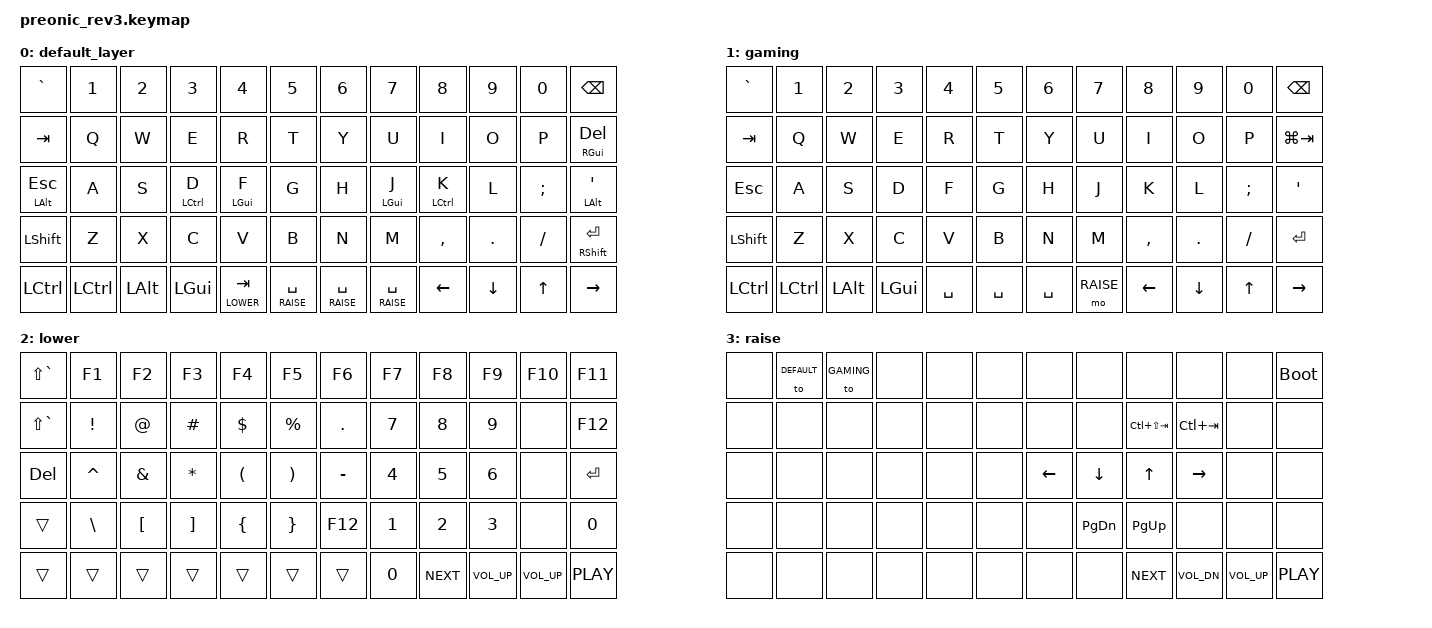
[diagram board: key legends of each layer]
/*
 * Copyright (c) 2022 The ZMK Contributors
 *
 * SPDX-License-Identifier: MIT
 */

#include <behaviors.dtsi>
#include <dt-bindings/zmk/keys.h>
#include <dt-bindings/zmk/bt.h>

#define DEFAULT 0
#define GAMING  1
#define LOWER   2
#define RAISE   3

#define SP_RAISE &lt RAISE SPACE

&mt {
    flavor = "tap-preferred";
};

/ {
    keymap {
        compatible = "zmk,keymap";
        default_layer {
            //  -------------------------------------------------------------------------------------------------
            // |  GRAV |  1   |  2   |  3   |  4    |  5     |   6     |  7     |  8   |  9    |   0   | BSPC   |
            // |  TAB  |  Q   |  W   |  E   |  R    |  T     |   Y     |  U     |  I   |  O    |   P   | DEL    |
            // |  ESC  |  A   |  S   |  D   |  F    |  G     |   H     |  J     |  K   |  L    |   ;   |  '     |
            // | SHIFT |  Z   |  X   |  C   |  V    |  B     |   N     |  M     |  ,   |  .    |   /   | RET    |
            // |       | LGUI | LALT | LCTL | LOWER | SPACE  |  SPACE  |  RAISE | LEFT |  DOWN |   UP  | RIGHT  |
            bindings = <
                &kp GRAVE    &kp N1     &kp N2    &kp N3      &kp N4         &kp N5    &kp N6    &kp N7     &kp N8      &kp N9    &kp N0     &kp BSPC
                &kp TAB      &kp Q      &kp W     &kp E       &kp R          &kp T     &kp Y     &kp U      &kp I       &kp O     &kp P      &mt RGUI DEL
                &mt LALT ESC &kp A      &kp S     &mt LCTRL D &mt LGUI F     &kp G     &kp H     &mt LGUI J &mt LCTRL K &kp L     &kp SEMI   &mt LALT SQT
                &kp LSHIFT   &kp Z      &kp X     &kp C       &kp V          &kp B     &kp N     &kp M      &kp COMMA   &kp DOT   &kp SLASH  &mt RSHIFT RET
                &kp LCTRL    &kp LCTRL  &kp LALT  &kp LGUI    &lt LOWER TAB  SP_RAISE  SP_RAISE  SP_RAISE   &kp LEFT    &kp DOWN  &kp UP     &kp RIGHT
            >;
        };
        gaming {
            //  -------------------------------------------------------------------------------------------------
            // |  GRAV |  1   |  2   |  3   |  4    |  5     |   6     |  7     |  8   |  9    |   0   | BSPC   |
            // |  TAB  |  Q   |  W   |  E   |  R    |  T     |   Y     |  U     |  I   |  O    |   P   | DEL    |
            // |  ESC  |  A   |  S   |  D   |  F    |  G     |   H     |  J     |  K   |  L    |   ;   |  '     |
            // | SHIFT |  Z   |  X   |  C   |  V    |  B     |   N     |  M     |  ,   |  .    |   /   | RET    |
            // | LCTRL | LCTRL| LALT | LGUI | SPACE | SPACE  |  SPACE  |  RAISE | LEFT |  DOWN |   UP  | RIGHT  |
            bindings = <
                &kp GRAVE   &kp N1     &kp N2    &kp N3    &kp N4     &kp N5     &kp N6     &kp N7     &kp N8     &kp N9    &kp N0     &kp BSPC
                &kp TAB     &kp Q      &kp W     &kp E     &kp R      &kp T      &kp Y      &kp U      &kp I      &kp O     &kp P      &kp LG(TAB)
                &kp ESC     &kp A      &kp S     &kp D     &kp F      &kp G      &kp H      &kp J      &kp K      &kp L     &kp SEMI   &kp SQT
                &kp LSHIFT  &kp Z      &kp X     &kp C     &kp V      &kp B      &kp N      &kp M      &kp COMMA  &kp DOT   &kp SLASH  &kp RET
                &kp LCTRL   &kp LCTRL  &kp LALT  &kp LGUI  &kp SPACE  &kp SPACE  &kp SPACE  &mo RAISE  &kp LEFT   &kp DOWN  &kp UP     &kp RIGHT
            >;
        };
        lower {
            // ------------------------------------------------------------------------------------------
            // |   ~   |  F1  |  F2  |  F3  |  F4  |  F5  |  F6   |  F7   |  F8  |  F9  |  F10  | F11   |
            // |   ~   |  !   |  @   |  #   |  $   |  %   |   .   |   7   |   8  |  9   |   /   | F12   |
            // |  DEL  |  ^   |  &   |  *   |  (   |  )   |   -   |   4   |   5  |  6   |   *   |  \    |
            // |       |  \   |  [   |  ]   |  {   |  }   |   =   |   1   |   2  |  3   |   =   |  0    |
            // | LALT  |      |      |      |      |      |       |   0   | NEXT | VOL- | VOL+  | PLAY  |
            bindings = <
                &kp LS(GRAVE)  &kp F1      &kp F2      &kp F3      &kp F4      &kp F5      &kp F6      &kp F7      &kp F8      &kp F9        &kp F10       &kp F11
                &kp LS(GRAVE)  &kp EXCL    &kp AT      &kp HASH    &kp DOLLAR  &kp PRCNT   &kp DOT     &kp N7      &kp N8      &kp N9        &none         &kp F12
                &kp DEL        &kp CARET   &kp AMPS    &kp STAR    &kp LPAR    &kp RPAR    &kp MINUS   &kp N4      &kp N5      &kp N6        &none         &kp RET
                &trans         &kp BSLH    &kp LBKT    &kp RBKT    &kp LBRC    &kp RBRC    &kp F12     &kp N1      &kp N2      &kp N3        &none         &kp N0
                &trans         &trans      &trans      &trans      &trans      &trans      &trans      &kp N0      &kp C_NEXT  &kp C_VOL_UP  &kp C_VOL_UP  &kp C_PLAY
            >;
        };
        raise {
            // -------------------------------------------------------------------------------------------
            // |   `   |  1   |  2   |  3   |  4   |   5   |   6   |   7   |   8  |  9   |   0   | BSPC  |
            // |   `   |  1   |  2   |  3   |  4   |   5   |   6   |   7   |   8  |  9   |   0   | DEL   |
            // |  DEL  |  F1  |  F2  |  F3  |  F4  |  F5   |  F6   |   -   |   =  |  [   |   ]   |  \    |
            // |       |  F7  |  F8  |  F9  |  F10 |  F11  |  F12  |   #   |   \  | PGUP |  PGDN |       |
            // |       |      |      |      |      | SHIFT |       |       | NEXT | VOL- |  VOL+ | PLAY  |
            bindings = <
                &none  &to DEFAULT &to GAMING &none   &none   &none   &none     &none     &none           &none         &none         &bootloader
                &none  &none       &none      &none   &none   &none   &none     &none     &kp LC(LS(TAB)) &kp LC(TAB)   &none         &none
                &none  &none       &none      &none   &none   &none   &kp LEFT  &kp DOWN  &kp UP          &kp RIGHT     &none         &none
                &none  &none       &none      &none   &none   &none   &none     &kp PG_DN &kp PG_UP       &none         &none         &none
                &none  &none       &none      &none   &none   &none   &none     &none     &kp C_NEXT      &kp C_VOL_DN  &kp C_VOL_UP  &kp C_PLAY
            >;
        };
    };
};
